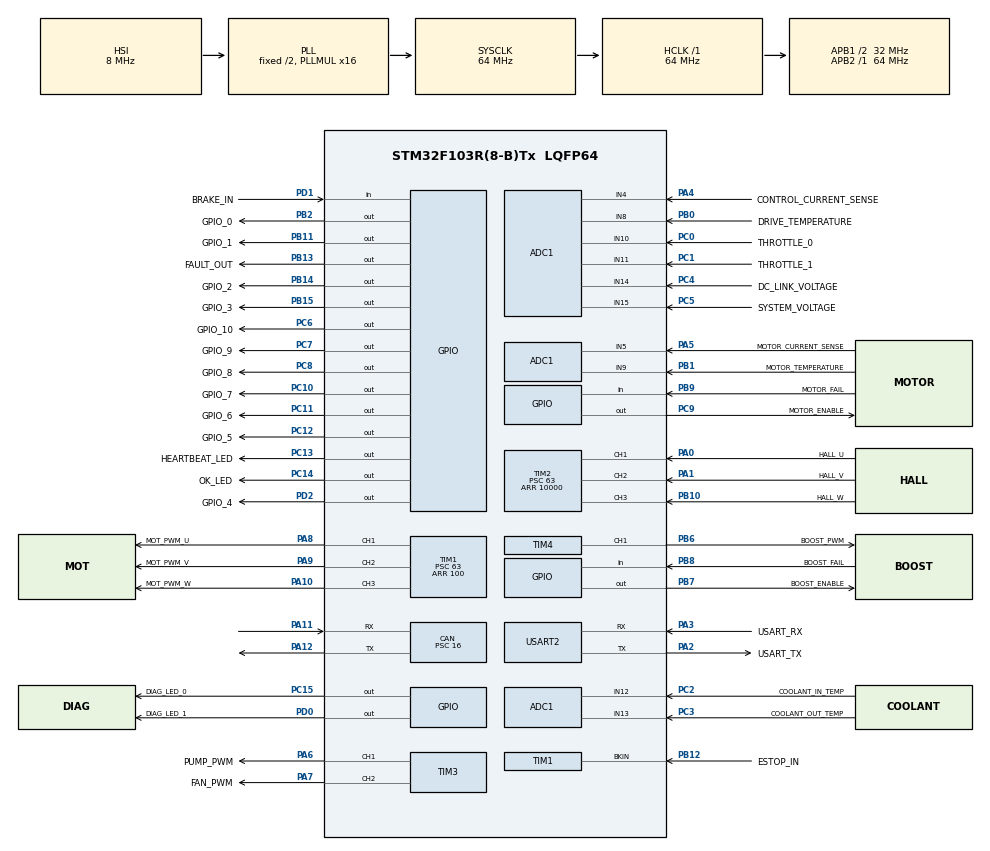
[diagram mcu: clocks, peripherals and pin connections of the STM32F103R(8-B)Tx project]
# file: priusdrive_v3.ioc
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ADC1.Channel-0\#ChannelRegularConversion=ADC_CHANNEL_4
ADC1.Channel-1\#ChannelRegularConversion=ADC_CHANNEL_5
ADC1.Channel-2\#ChannelRegularConversion=ADC_CHANNEL_8
ADC1.Channel-3\#ChannelRegularConversion=ADC_CHANNEL_9
ADC1.Channel-4\#ChannelRegularConversion=ADC_CHANNEL_10
ADC1.Channel-5\#ChannelRegularConversion=ADC_CHANNEL_11
ADC1.Channel-6\#ChannelRegularConversion=ADC_CHANNEL_12
ADC1.Channel-7\#ChannelRegularConversion=ADC_CHANNEL_13
ADC1.Channel-8\#ChannelRegularConversion=ADC_CHANNEL_14
ADC1.Channel-9\#ChannelRegularConversion=ADC_CHANNEL_15
ADC1.ContinuousConvMode=ENABLE
ADC1.NbrOfConversion=10
ADC1.NbrOfConversionFlag=1
ADC1.Rank-0\#ChannelRegularConversion=1
ADC1.Rank-1\#ChannelRegularConversion=2
ADC1.Rank-2\#ChannelRegularConversion=3
ADC1.Rank-3\#ChannelRegularConversion=4
ADC1.Rank-4\#ChannelRegularConversion=5
ADC1.Rank-5\#ChannelRegularConversion=6
ADC1.Rank-6\#ChannelRegularConversion=7
ADC1.Rank-7\#ChannelRegularConversion=8
ADC1.Rank-8\#ChannelRegularConversion=9
ADC1.Rank-9\#ChannelRegularConversion=10
ADC1.SamplingTime-0\#ChannelRegularConversion=ADC_SAMPLETIME_239CYCLES_5
ADC1.SamplingTime-1\#ChannelRegularConversion=ADC_SAMPLETIME_239CYCLES_5
ADC1.SamplingTime-2\#ChannelRegularConversion=ADC_SAMPLETIME_239CYCLES_5
ADC1.SamplingTime-3\#ChannelRegularConversion=ADC_SAMPLETIME_239CYCLES_5
ADC1.SamplingTime-4\#ChannelRegularConversion=ADC_SAMPLETIME_239CYCLES_5
ADC1.SamplingTime-5\#ChannelRegularConversion=ADC_SAMPLETIME_239CYCLES_5
ADC1.SamplingTime-6\#ChannelRegularConversion=ADC_SAMPLETIME_239CYCLES_5
ADC1.SamplingTime-7\#ChannelRegularConversion=ADC_SAMPLETIME_239CYCLES_5
ADC1.SamplingTime-8\#ChannelRegularConversion=ADC_SAMPLETIME_239CYCLES_5
ADC1.SamplingTime-9\#ChannelRegularConversion=ADC_SAMPLETIME_239CYCLES_5
ADC1.master=1
CAN.ABOM=ENABLE
CAN.AWUM=ENABLE
CAN.BS1=CAN_BS1_13TQ
CAN.BS2=CAN_BS2_2TQ
CAN.CalculateTimeBit=8000
CAN.CalculateTimeQuantum=500.0
CAN.Prescaler=16
Dma.ADC1.0.Direction=DMA_PERIPH_TO_MEMORY
Dma.ADC1.0.Instance=DMA1_Channel1
Dma.ADC1.0.MemDataAlignment=DMA_MDATAALIGN_HALFWORD
Dma.ADC1.0.MemInc=DMA_MINC_ENABLE
Dma.ADC1.0.Mode=DMA_CIRCULAR
Dma.ADC1.0.PeriphDataAlignment=DMA_PDATAALIGN_HALFWORD
Dma.ADC1.0.PeriphInc=DMA_PINC_DISABLE
Dma.ADC1.0.Priority=DMA_PRIORITY_VERY_HIGH
Dma.Request0=ADC1
IWDG.Reload=110
Mcu.Family=STM32F1
Mcu.Name=STM32F103R(8-B)Tx
Mcu.Package=LQFP64
NVIC.CAN1_RX1_IRQn=true\:0\:0\:false\:false\:true\:true\:true
NVIC.DMA1_Channel1_IRQn=true\:0\:0\:false\:false\:true\:false\:true
NVIC.PriorityGroup=NVIC_PRIORITYGROUP_4
NVIC.TIM1_TRG_COM_IRQn=true\:0\:0\:false\:true\:true\:1\:true\:true
NVIC.USB_LP_CAN1_RX0_IRQn=true\:0\:0\:false\:false\:true\:true\:true
PA0-WKUP.GPIO_Label=HALL_U
PA0-WKUP.Signal=S_TIM2_CH1_ETR
PA1.GPIO_Label=HALL_V
PA1.Signal=S_TIM2_CH2
PA10.GPIO_Label=MOT_PWM_W
PA10.Signal=S_TIM1_CH3
PA11.Mode=Master
PA11.Signal=CAN_RX
PA12.Mode=Master
PA12.Signal=CAN_TX
PA13.Mode=Serial_Wire
PA13.Signal=SYS_JTMS-SWDIO
PA14.Mode=Serial_Wire
PA14.Signal=SYS_JTCK-SWCLK
PA15.GPIO_Label=FLASH_CS
PA15.Signal=SPI1_NSS
PA2.GPIO_Label=USART_TX
PA2.GPIO_Mode=GPIO_MODE_AF_PP
PA2.GPIO_PuPd=GPIO_NOPULL
PA2.GPIO_Speed=GPIO_SPEED_FREQ_LOW
PA2.Mode=Asynchronous
PA2.Signal=USART2_TX
PA3.GPIO_Label=USART_RX
PA3.GPIO_Mode=GPIO_MODE_AF_PP
PA3.GPIO_PuPd=GPIO_NOPULL
PA3.GPIO_Speed=GPIO_SPEED_FREQ_LOW
PA3.Mode=Asynchronous
PA3.Signal=USART2_RX
PA4.GPIO_Label=CONTROL_CURRENT_SENSE
PA4.Signal=ADCx_IN4
PA5.GPIO_Label=MOTOR_CURRENT_SENSE
PA5.Signal=ADCx_IN5
PA6.GPIO_Label=PUMP_PWM
PA6.Signal=S_TIM3_CH1
PA7.GPIO_Label=FAN_PWM
PA7.Signal=S_TIM3_CH2
PA8.GPIO_Label=MOT_PWM_U
PA8.Signal=S_TIM1_CH1
PA9.GPIO_Label=MOT_PWM_V
PA9.Signal=S_TIM1_CH2
PB0.GPIO_Label=DRIVE_TEMPERATURE
PB0.Signal=ADCx_IN8
PB1.GPIO_Label=MOTOR_TEMPERATURE
PB1.Signal=ADCx_IN9
PB10.GPIO_Label=HALL_W
PB10.Signal=S_TIM2_CH3
PB11.GPIO_Label=GPIO_1
PB11.Signal=GPIO_Output
PB12.GPIO_Label=ESTOP_IN
PB12.Mode=Activate-Break-Input
PB12.Signal=TIM1_BKIN
PB13.GPIO_Label=FAULT_OUT
PB13.Signal=GPIO_Output
PB14.GPIO_Label=GPIO_2
PB14.Signal=GPIO_Output
PB15.GPIO_Label=GPIO_3
PB15.Signal=GPIO_Output
PB2.GPIO_Label=GPIO_0
PB2.Signal=GPIO_Output
PB3.GPIO_Label=FLASH_SCK
PB3.Signal=SPI1_SCK
PB4.GPIO_Label=FLASH_MISO
PB4.Signal=SPI1_MISO
PB5.GPIO_Label=FLASH_MOSI
PB5.Signal=SPI1_MOSI
PB6.GPIO_Label=BOOST_PWM
PB6.Signal=S_TIM4_CH1
PB7.GPIO_Label=BOOST_ENABLE
PB7.Signal=GPIO_Output
PB8.GPIO_Label=BOOST_FAIL
PB8.Signal=GPIO_Input
PB9.GPIO_Label=MOTOR_FAIL
PB9.Signal=GPIO_Input
PC0.GPIO_Label=THROTTLE_0
PC0.Signal=ADCx_IN10
PC1.GPIO_Label=THROTTLE_1
PC1.Signal=ADCx_IN11
PC10.GPIO_Label=GPIO_7
PC10.Signal=GPIO_Output
PC11.GPIO_Label=GPIO_6
PC11.Signal=GPIO_Output
PC12.GPIO_Label=GPIO_5
PC12.Signal=GPIO_Output
PC13-TAMPER-RTC.GPIO_Label=HEARTBEAT_LED
PC13-TAMPER-RTC.Signal=GPIO_Output
PC14-OSC32_IN.GPIO_Label=OK_LED
PC14-OSC32_IN.Signal=GPIO_Output
PC15-OSC32_OUT.GPIO_Label=DIAG_LED_0
PC15-OSC32_OUT.Signal=GPIO_Output
PC2.GPIO_Label=COOLANT_IN_TEMP
PC2.Signal=ADCx_IN12
PC3.GPIO_Label=COOLANT_OUT_TEMP
PC3.Signal=ADCx_IN13
PC4.GPIO_Label=DC_LINK_VOLTAGE
PC4.Signal=ADCx_IN14
PC5.GPIO_Label=SYSTEM_VOLTAGE
PC5.Signal=ADCx_IN15
PC6.GPIO_Label=GPIO_10
PC6.Signal=GPIO_Output
PC7.GPIO_Label=GPIO_9
PC7.Signal=GPIO_Output
PC8.GPIO_Label=GPIO_8
PC8.Signal=GPIO_Output
PC9.GPIO_Label=MOTOR_ENABLE
PC9.Signal=GPIO_Output
PD0-OSC_IN.GPIO_Label=DIAG_LED_1
PD0-OSC_IN.Signal=GPIO_Output
PD1-OSC_OUT.GPIO_Label=BRAKE_IN
PD1-OSC_OUT.Signal=GPIO_Input
PD2.GPIO_Label=GPIO_4
PD2.Signal=GPIO_Output
ProjectManager.HeapSize=0x200
ProjectManager.StackSize=0x400
ProjectManager.TargetToolchain=SW4STM32
RCC.ADCPresc=RCC_ADCPCLK2_DIV8
RCC.AHBFreq_Value=64000000
RCC.APB1CLKDivider=RCC_HCLK_DIV2
RCC.APB1Freq_Value=32000000
RCC.APB1TimFreq_Value=64000000
RCC.APB2Freq_Value=64000000
RCC.APB2TimFreq_Value=64000000
RCC.HCLKFreq_Value=64000000
RCC.PLLMUL=RCC_PLL_MUL16
RCC.RTCClockSelection=RCC_RTCCLKSOURCE_LSE
RCC.SYSCLKFreq_VALUE=64000000
RCC.SYSCLKSource=RCC_SYSCLKSOURCE_PLLCLK
RCC.USBFreq_Value=64000000
SH.ADCx_IN10.0=ADC1_IN10,IN10
SH.ADCx_IN11.0=ADC1_IN11,IN11
SH.ADCx_IN12.0=ADC1_IN12,IN12
SH.ADCx_IN13.0=ADC1_IN13,IN13
SH.ADCx_IN14.0=ADC1_IN14,IN14
SH.ADCx_IN15.0=ADC1_IN15,IN15
SH.ADCx_IN4.0=ADC1_IN4,IN4
SH.ADCx_IN5.0=ADC1_IN5,IN5
SH.ADCx_IN8.0=ADC1_IN8,IN8
SH.ADCx_IN9.0=ADC1_IN9,IN9
SH.S_TIM1_CH1.0=TIM1_CH1,PWM Generation1 CH1
SH.S_TIM1_CH2.0=TIM1_CH2,PWM Generation2 CH2
SH.S_TIM1_CH3.0=TIM1_CH3,PWM Generation3 CH3
SH.S_TIM2_CH1_ETR.0=TIM2_CH1,Xored_Inputs_Hall_Sensor_Interface
SH.S_TIM2_CH2.0=TIM2_CH2,Xored_Inputs_Hall_Sensor_Interface
SH.S_TIM2_CH3.0=TIM2_CH3,Xored_Inputs_Hall_Sensor_Interface
SH.S_TIM3_CH1.0=TIM3_CH1,PWM Generation1 CH1
SH.S_TIM3_CH2.0=TIM3_CH2,PWM Generation2 CH2
SH.S_TIM4_CH1.0=TIM4_CH1,PWM Generation1 CH1
TIM1.AutomaticOutput=TIM_AUTOMATICOUTPUT_ENABLE
TIM1.Channel-PWM\ Generation1\ CH1=TIM_CHANNEL_1
TIM1.Channel-PWM\ Generation2\ CH2=TIM_CHANNEL_2
TIM1.Channel-PWM\ Generation3\ CH3=TIM_CHANNEL_3
TIM1.Period=100
TIM1.Prescaler=63
TIM1.TIM_MasterOutputTrigger=TIM_TRGO_OC2REF
TIM1.TIM_MasterSlaveMode=TIM_MASTERSLAVEMODE_DISABLE
TIM2.Commutation_Delay=1000
TIM2.IC1Filter=10
TIM2.IC1Prescaler=TIM_ICPSC_DIV4
TIM2.Period=10000
TIM2.Prescaler=63
TIM3.Channel-PWM\ Generation1\ CH1=TIM_CHANNEL_1
TIM3.Channel-PWM\ Generation2\ CH2=TIM_CHANNEL_2
TIM4.Channel-PWM\ Generation1\ CH1=TIM_CHANNEL_1
USART2.VirtualMode=VM_ASYNC
VP_IWDG_VS_IWDG.Mode=IWDG_Activate
VP_TIM1_VS_ClockSourceINT.Mode=Internal
VP_TIM1_VS_ClockSourceITR.Mode=TriggerSource_ITR0
VP_TIM1_VS_ControllerModeTrigger.Mode=Trigger Mode
VP_TIM2_VS_ClockSourceINT.Mode=Internal
board=NUCLEO-F103RB

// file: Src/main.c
/* USER CODE BEGIN Header */
/**
  ******************************************************************************
  * @file           : main.c
  * @brief          : Main program body
  ******************************************************************************
  * @attention
  *
  * <h2><center>&copy; Copyright (c) 2019 STMicroelectronics.
  * All rights reserved.</center></h2>
  *
  * This software component is licensed by ST under BSD 3-Clause license,
  * the "License"; You may not use this file except in compliance with the
  * License. You may obtain a copy of the License at:
  *                        opensource.org/licenses/BSD-3-Clause
  *
  ******************************************************************************
  */

/*
 * ADC PIN ASSIGNMENTS
 *
 * IN4  / 0: Control current sense
 * IN5  / 1: Motor current sense
 * IN8  / 2: Drive temperature
 * IN9  / 3: Motor temperature
 * IN10 / 4: Throttle 0
 * IN11 / 5: Throttle 1
 * IN12 / 6: Coolant in temperature
 * IN13 / 7: Coolant out temperature
 * IN14 / 8: DC Link voltage
 * IN15 / 9: System voltage
 */

/*
 * Timer Assignments
 *
 * TIM1: Motor PWM
 * TIM2: Hall effects input
 * TIM3: Cooling PWM
 * TIM4: Boost converter PWM
 */

/* USER CODE END Header */

#include "main.h"
#include "adc.h"
#include "can.h"
#include "dma.h"
#include "iwdg.h"
#include "tim.h"
#include "usart.h"
#include "gpio.h"

/* USER CODE BEGIN PD */

#define COMMAND_ADDR 0x01
#define CONFIG_ADDR 0x02
#define REGEN_ADDR 0x03
//#define MULTI_THROTTLE_MODE

/* USER CODE END PD */

/* USER CODE BEGIN PV */

volatile uint16_t ThrottleMin = 747;
volatile uint16_t ThrottleMax = 3655;

volatile uint8_t ForwardReverseSelect = 1;
volatile uint8_t InverterEnable = 0;

volatile uint8_t ThrottleCommand = 0;
volatile uint8_t LastThrottleCommand = 0;
volatile uint8_t CANThrottleCommand = 0;

volatile uint8_t ThrottleDisagreement = 0;
volatile uint8_t ThrottleRampStep = 1;
volatile uint8_t ThrottleRampTime = 5;
volatile uint8_t ThrottleRunning = 0;

volatile uint8_t MaxFanSpeed = 0;
volatile uint8_t MaxPumpSpeed = 0;
volatile uint8_t MaxMotorCurrent = 0;
volatile uint8_t MaxMotorTemp = 0;
volatile uint8_t MaxCoolantTemp = 0;

volatile uint8_t MaxBoostVoltage = 0;
volatile uint8_t RequestedDCLinkVoltage = 0;
volatile uint8_t BoostPwm = 0;

volatile uint16_t ThrottleAveraging[10] = {0};
volatile uint16_t DCLinkAveraging[10] = {0};

static float DCLinkRatio = 0.0262901655;
volatile float DCLinkVoltage = 0;

volatile uint8_t Error = 0;

volatile uint16_t LoopCount = 0;

volatile uint8_t RegenEnable = 1;

/*
 * Array values
 * 0: CONTROL_CURRENT_SENSE
 * 1: MOTOR_CURRENT_SENSE
 * 2: DRIVE_TEMPERATURE
 * 3: MOTOR_TEMPERATURE
 * 4: THROTTLE_0
 * 5: THROTTLE_1
 * 6: COOLANT_IN_TEMP
 * 7: COOLANT_OUT_TEMP
 * 8: DC_LINK_VOLTAGE
 * 9: SYSTEM_VOLTAGE
 *
 */

volatile uint16_t ADCRawValues[10];

/* USER CODE END PV */

void SystemClock_Config(void);
static void MX_NVIC_Init(void);
/* USER CODE BEGIN PFP */

void AddValue(uint16_t newValue, uint16_t array[], uint8_t len);
uint16_t CalculateArrayAverage(uint16_t array[], uint8_t len);
uint8_t ScaleToPercentage(uint16_t input, uint16_t in_min, uint16_t in_max);
void CheckSafeties();

/* USER CODE END PFP */

int main(void)
{

  /* MCU Configuration--------------------------------------------------------*/

  /* Reset of all peripherals, Initializes the Flash interface and the Systick. */
  HAL_Init();

  /* Configure the system clock */
  SystemClock_Config();

  /* Initialize all configured peripherals */
  MX_GPIO_Init();
  MX_TIM1_Init();
  MX_TIM2_Init();
  MX_USART2_UART_Init();
  MX_DMA_Init();
  MX_ADC1_Init();
  MX_CAN_Init();
  MX_TIM3_Init();
  MX_TIM4_Init();

  /* Initialize interrupts */
  MX_NVIC_Init();
  /* USER CODE BEGIN 2 */

  hcan.Instance->MCR = 0x60;

  __enable_irq();

  HAL_CAN_Receive_IT(&hcan, CAN_FIFO0);
  //HAL_ADC_Start_IT(&hadc1);

  if(HAL_ADCEx_Calibration_Start(&hadc1) == HAL_ERROR) Error_Handler();

  HAL_ADC_Start_DMA(&hadc1, (uint32_t *)ADCRawValues, 10);

  /*
   * TIM_CHANNEL_1 / CCR1 is U
   * TIM_CHANNEL_2 / CCR2 is V
   * TIM_CHANNEL_3 / CCR3 is W
   */

  HAL_TIM_PWM_Start(&htim1, TIM_CHANNEL_2);
  HAL_TIM_PWM_Start(&htim1, TIM_CHANNEL_3);
  HAL_TIM_PWM_Start(&htim4, TIM_CHANNEL_1);

  HAL_GPIO_WritePin(MOTOR_ENABLE_GPIO_Port, MOTOR_ENABLE_Pin, GPIO_PIN_SET);
  HAL_GPIO_WritePin(BOOST_ENABLE_GPIO_Port, BOOST_ENABLE_Pin, GPIO_PIN_RESET);

  TIM1->CCR2 = 100;
  TIM1->CCR3 = 100;
  TIM4->CCR1 = 0;

  HAL_GPIO_WritePin(GPIOC, OK_LED_Pin, GPIO_PIN_SET);

  /* USER CODE END 2 */

  /* Infinite loop */
  while (1)
  {

    /* USER CODE BEGIN 3 */
	  if(Error == 0)
	  {
		  HAL_GPIO_WritePin(MOTOR_ENABLE_GPIO_Port, MOTOR_ENABLE_Pin, GPIO_PIN_SET);
		  //HAL_GPIO_WritePin(BOOST_ENABLE_GPIO_Port, BOOST_ENABLE_Pin, GPIO_PIN_RESET);
		  HAL_GPIO_WritePin(GPIOD, DIAG_LED_1_Pin, GPIO_PIN_RESET);

		  //Set throttle
		  if(ForwardReverseSelect == 1)
		  {
			  if(RegenEnable == 1)
			  {
				  if(ThrottleCommand < LastThrottleCommand && LoopCount % ThrottleRampTime == 0)
				  {
					  //Gently release throttle
					  //HAL_GPIO_WritePin(BOOST_ENABLE_GPIO_Port, BOOST_ENABLE_Pin, GPIO_PIN_SET);
					  TIM1->CCR2 = 100 + ThrottleCommand - ThrottleRampStep;
					  TIM1->CCR3 = 100 - ThrottleCommand - ThrottleRampStep;
					  LastThrottleCommand = LastThrottleCommand - ThrottleRampStep;

				  } else if(ThrottleCommand > LastThrottleCommand){
					  //Increase throttle command
					  //HAL_GPIO_WritePin(BOOST_ENABLE_GPIO_Port, BOOST_ENABLE_Pin, GPIO_PIN_SET);
					  TIM1->CCR2 = 100 + ThrottleCommand;
					  TIM1->CCR3 = 100 - ThrottleCommand;
					  LastThrottleCommand = ThrottleCommand;
				  }
			  } else if(RegenEnable == 0)
			  {
				  if(ThrottleCommand < LastThrottleCommand && LoopCount % ThrottleRampTime == 0)
				  {
					  //Gently release throttle with no regen
					  //HAL_GPIO_WritePin(BOOST_ENABLE_GPIO_Port, BOOST_ENABLE_Pin, GPIO_PIN_SET);
				  	  TIM1->CCR2 = 100 + ThrottleCommand - ThrottleRampStep;
				  	  TIM1->CCR3 = 100 - ThrottleCommand - ThrottleRampStep;
				  	  LastThrottleCommand = LastThrottleCommand - ThrottleRampStep;

				  } else if(ThrottleCommand > LastThrottleCommand){
				  	  //Increase throttle command
					  //HAL_GPIO_WritePin(BOOST_ENABLE_GPIO_Port, BOOST_ENABLE_Pin, GPIO_PIN_RESET);
				  	  TIM1->CCR2 = 100 + ThrottleCommand;
				  	  TIM1->CCR3 = 100 - ThrottleCommand;
				  	  LastThrottleCommand = ThrottleCommand;
				  }
			  }
		  } else if(ForwardReverseSelect == 0)
		  {
			  //Check to see if throttle has been released to decay throttle
			  if(ThrottleCommand < LastThrottleCommand && LoopCount % ThrottleRampTime == 0)
			  {
				  TIM1->CCR2 = 100 - ThrottleCommand - ThrottleRampStep;
				  TIM1->CCR3 = 100 + ThrottleCommand - ThrottleRampStep;
				  LastThrottleCommand = LastThrottleCommand - ThrottleRampStep;
			  } else if(ThrottleCommand > LastThrottleCommand){
				  TIM1->CCR2 = 100 - ThrottleCommand;
				  TIM1->CCR3 = 100 + ThrottleCommand;
				  LastThrottleCommand = ThrottleCommand;
			  }
		  }

		  //Boost converter control
		  if(ThrottleCommand > 15)
		  {
			  ThrottleRunning = 1;
			  if(DCLinkVoltage < RequestedDCLinkVoltage && BoostPwm < 150)
			  {
				  HAL_GPIO_WritePin(BOOST_ENABLE_GPIO_Port, BOOST_ENABLE_Pin, GPIO_PIN_RESET);
				  TIM4->CCR1 = BoostPwm += 1;
			  }

			  if(DCLinkVoltage > RequestedDCLinkVoltage + 1 && BoostPwm > 0)
			  {
				  TIM4->CCR1 = BoostPwm -= 1;
			  }
		  }
		  if(ThrottleCommand < 10)
		  {
			  ThrottleRunning = 0;
			  BoostPwm = 0;
			  TIM4->CCR1 = BoostPwm;
		  }
	  }

	  if(Error == 1)
	  {
		  TIM1->CCR2 = 0;
		  TIM1->CCR3 = 0;
		  TIM4->CCR1 = 0;

		  HAL_GPIO_WritePin(GPIOD, DIAG_LED_1_Pin, GPIO_PIN_SET);
		  HAL_GPIO_WritePin(MOTOR_ENABLE_GPIO_Port, MOTOR_ENABLE_Pin, GPIO_PIN_RESET);
	  }

	  if(LoopCount == 1000)
	  {
		  Error = 0;
		  LoopCount = 0;
	  }

	  if(LoopCount % 100 == 0)
	  {
		  hcan.pTxMsg->DLC = 4;
		  hcan.pTxMsg->Data[0] = (int)LoopCount / 100;
		  hcan.pTxMsg->Data[1] = ThrottleCommand; //ScaleToPercentage(ADCRawValues[4], ThrottleMin, ThrottleMax);
		  hcan.pTxMsg->Data[2] = (int)DCLinkVoltage;
		  hcan.pTxMsg->Data[3] = BoostPwm;
		  HAL_CAN_Transmit(&hcan, 10);
		  HAL_GPIO_TogglePin(GPIOC, HEARTBEAT_LED_Pin);

	  }

	  LoopCount++;

	  HAL_Delay(1);
  }
  /* USER CODE END 3 */
}

void SystemClock_Config(void)
{
  RCC_OscInitTypeDef RCC_OscInitStruct = {0};
  RCC_ClkInitTypeDef RCC_ClkInitStruct = {0};
  RCC_PeriphCLKInitTypeDef PeriphClkInit = {0};

  /** Initializes the CPU, AHB and APB busses clocks
  */
  RCC_OscInitStruct.OscillatorType = RCC_OSCILLATORTYPE_HSI|RCC_OSCILLATORTYPE_LSI;
  RCC_OscInitStruct.HSIState = RCC_HSI_ON;
  RCC_OscInitStruct.HSICalibrationValue = RCC_HSICALIBRATION_DEFAULT;
  RCC_OscInitStruct.LSIState = RCC_LSI_ON;
  RCC_OscInitStruct.PLL.PLLState = RCC_PLL_ON;
  RCC_OscInitStruct.PLL.PLLSource = RCC_PLLSOURCE_HSI_DIV2;
  RCC_OscInitStruct.PLL.PLLMUL = RCC_PLL_MUL16;
  if (HAL_RCC_OscConfig(&RCC_OscInitStruct) != HAL_OK)
  {
    Error_Handler();
  }
  /** Initializes the CPU, AHB and APB busses clocks
  */
  RCC_ClkInitStruct.ClockType = RCC_CLOCKTYPE_HCLK|RCC_CLOCKTYPE_SYSCLK
                              |RCC_CLOCKTYPE_PCLK1|RCC_CLOCKTYPE_PCLK2;
  RCC_ClkInitStruct.SYSCLKSource = RCC_SYSCLKSOURCE_PLLCLK;
  RCC_ClkInitStruct.AHBCLKDivider = RCC_SYSCLK_DIV1;
  RCC_ClkInitStruct.APB1CLKDivider = RCC_HCLK_DIV2;
  RCC_ClkInitStruct.APB2CLKDivider = RCC_HCLK_DIV1;

  if (HAL_RCC_ClockConfig(&RCC_ClkInitStruct, FLASH_LATENCY_2) != HAL_OK)
  {
    Error_Handler();
  }
  PeriphClkInit.PeriphClockSelection = RCC_PERIPHCLK_ADC;
  PeriphClkInit.AdcClockSelection = RCC_ADCPCLK2_DIV8;
  if (HAL_RCCEx_PeriphCLKConfig(&PeriphClkInit) != HAL_OK)
  {
    Error_Handler();
  }
}

/**
  * @brief NVIC Configuration.
  * @retval None
  */
static void MX_NVIC_Init(void)
{
  /* TIM1_TRG_COM_IRQn interrupt configuration */
  HAL_NVIC_SetPriority(TIM1_TRG_COM_IRQn, 0, 0);
  HAL_NVIC_EnableIRQ(TIM1_TRG_COM_IRQn);
}

/* USER CODE BEGIN 4 */

void AddValue(uint16_t newValue, uint16_t array[], uint8_t len)
{
	for(uint8_t i = len - 1; i > 0; i--)
	{
		array[i] = array[i-1];
	}

	array[0] = newValue;
}

uint16_t CalculateArrayAverage(uint16_t array[], uint8_t len)
{
	uint32_t average = 0;

	for(uint8_t i = 0; i < len; i++)
	{
		average += array[i];
	}

	return average / len;
}

void HAL_ADC_ConvCpltCallback(ADC_HandleTypeDef* hadc)
{
	// Check safeties
	CheckSafeties();

	// Average throttle 0 ADC readings
	AddValue(ADCRawValues[4], ThrottleAveraging, 10);

	// Average DC link ADC readings
	AddValue(ADCRawValues[8], DCLinkAveraging, 10);

	// Calculate DC link voltage
	DCLinkVoltage = (CalculateArrayAverage(DCLinkAveraging, 10) * (3.32 / 4096.0)) / DCLinkRatio;

	// Calculate throttle percentage
	ThrottleCommand = ScaleToPercentage(CalculateArrayAverage(ThrottleAveraging, 10), ThrottleMin, ThrottleMax);

	HAL_GPIO_TogglePin(GPIOC, DIAG_LED_0_Pin);
}

void HAL_CAN_RxCpltCallback(CAN_HandleTypeDef* hcan)
{
	uint8_t CAN_ID = hcan->pRxMsg->StdId;

	switch (CAN_ID) {
	case COMMAND_ADDR:
		if(hcan->pRxMsg->RTR == CAN_RTR_DATA)
		{
			//CAN Set command
		}

		if(hcan->pRxMsg->RTR == CAN_RTR_REMOTE)
		{
			//CAN Request command
		}
		break;

	case CONFIG_ADDR:
		if(hcan->pRxMsg->RTR == CAN_RTR_DATA)
		{
			//CAN Set command
			ThrottleRampTime = hcan->pRxMsg->Data[0];
			RequestedDCLinkVoltage = hcan->pRxMsg->Data[1];
		}

		if(hcan->pRxMsg->RTR == CAN_RTR_REMOTE)
		{
			//CAN Request command
		}
		break;

	case REGEN_ADDR:
		if(hcan->pRxMsg->RTR == CAN_RTR_DATA)
		{
			RegenEnable = hcan->pRxMsg->Data[0];
		}
		break;
	}

	if(hcan->pRxMsg->StdId == 0x01 && hcan->pRxMsg->IDE == CAN_ID_STD)
	{
		TIM1->CCR2 = 100 + hcan->pRxMsg->Data[0];
		TIM1->CCR3 = 100 - hcan->pRxMsg->Data[0];
	}

	HAL_CAN_Receive_IT(hcan, CAN_FIFO0);
}

uint8_t ScaleToPercentage(uint16_t input, uint16_t in_min, uint16_t in_max)
{
	uint8_t result = (100 * (input - in_min) / (in_max - in_min));
	if(result >  100) result = 100;
	if(result < 0) result = 0;
	return result;
}

void CheckSafeties()
{
	//Check throttle bounds
	if(ADCRawValues[4] < ThrottleMin - 100 || ADCRawValues[4] > ThrottleMax + 100)
	{
		Error = 1;
	} else {
		Error = 0;
	}

#ifdef MULTI_THROTTLE_MODE
	if(ADCRawValues[5] < ThrottleMin - 100 || ADCRawValues[5] > ThrottleMax + 100)
	{
		Error = 1;
	} else {
		Error = 0;
	}
#endif

	//Check boost voltage limits

}

/* USER CODE END 4 */

void Error_Handler(void)
{
  /* USER CODE BEGIN Error_Handler_Debug */
  /* User can add his own implementation to report the HAL error return state */

	HAL_GPIO_WritePin(GPIOC, OK_LED_Pin, GPIO_PIN_RESET);

  /* USER CODE END Error_Handler_Debug */
}

/************************ (C) COPYRIGHT STMicroelectronics *****END OF FILE****/
